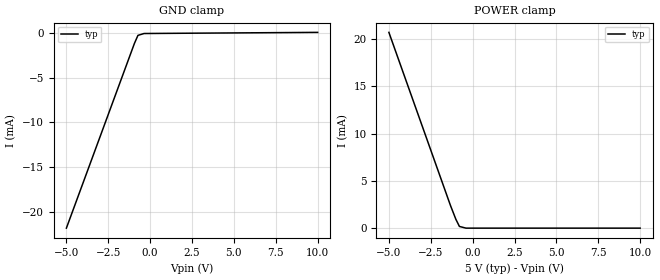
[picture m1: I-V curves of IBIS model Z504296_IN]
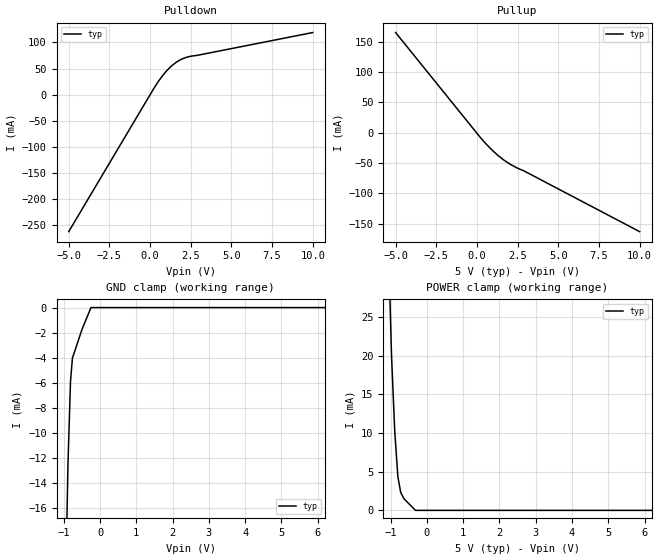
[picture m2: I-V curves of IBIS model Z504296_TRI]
| YOU ARE ONLY AUTHORIZED TO USE THIS SOFTWARE
| ACCORDING TO LICENSOR'S LICENSE RESTRICTIONS.
[IBIS Ver] 3.1
[File Name] mc54hct373aj.ibs
[File Rev] 2.0
[Source] Measured and created by ICX Technology
[Date] Friday 7/14/00 9:08:11 AM
[Copyright]
| (C) COPYRIGHT 1993-2000
| MENTOR GRAPHICS CORPORATION
| ICX STANDARD LIBRARY, ICX PROJECT MODELING,
| ICX CUSTOM MODELING, ICX VENDOR MODEL
| ALL RIGHTS RESERVED.
| THE FOLLOWING ARE TRADEMARKS OR SERVICE MARKS OF
| MENTOR GRAPHICS CORPORATION:ICX (R), ICX STANDARD
| LIBRARY(R), ICX PROJECT MODELING(R), ICX CUSTOM
| MODELING(R), qualityIBIS(TM), MODELVIEWER(TM),
| AND MODELEDITOR(TM)
| ALL COPIES OF SOFTWARE, INCLUDING BUT NOT LIMITED TO
| ANY MODIFICATIONS, ENHANCEMENTS OR DERIVATIVE WORKS,
| MUST CONTAIN ALL MENTOR GRAPHICS CORPORATION'S
| NOTICES AND LEGENDS, INCLUDING THOSE EMBEDDED IN
| SOFTWARE AND THOSE AFFIXED TO SOFTWARE MEDIUM
| AND CONTAINER, AS RECEIVED FROM MENTOR GRAPHICS
| CORPORATION.
|  ZAP Model Builder 2.7
[Component] MC54HCT373AJ
[Manufacturer] OnSemiconductor
[Package]
| variable   typ   min   max
R_pkg  .216ohms NA NA
L_pkg  5.76nH NA NA
C_pkg  2.193pF NA NA
[Pin] signal_name  model_name  R_pin  L_pin C_pin
1 _G Z504296_IN .232 9.76n 3.179p
2 Q0 Z504296_TRI .224 7.26n 2.686p
3 D0 Z504296_IN .216 5.26n 2.193p
4 D1 Z504296_IN .208 3.76n 1.7p
5 Q1 Z504296_TRI .2 2.76n 1.207p
6 Q2 Z504296_TRI .2 2.76n 1.207p
7 D2 Z504296_IN .208 3.76n 1.7p
8 D3 Z504296_IN .216 5.26n 2.193p
9 Q3 Z504296_TRI .224 7.26n 2.686p
10 GND GND .232 9.76n 3.179p
11 C Z504296_IN .232 9.76n 3.179p
12 Q4 Z504296_TRI .224 7.26n 2.686p
13 D4 Z504296_IN .216 5.26n 2.193p
14 D5 Z504296_IN .208 3.76n 1.7p
15 Q5 Z504296_TRI .2 2.76n 1.207p
16 Q6 Z504296_TRI .2 2.76n 1.207p
17 D6 Z504296_IN .208 3.76n 1.7p
18 D7 Z504296_IN .216 5.26n 2.193p
19 Q7 Z504296_TRI .224 7.26n 2.686p
20 VCC POWER .232 9.76n 3.179p
| Models and submodels in the file (2): Z504296_IN (Input), Z504296_TRI (3-state)
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| (C) COPYRIGHT 1993-2000
| MENTOR GRAPHICS CORPORATION
| ICX STANDARD LIBRARY, ICX PROJECT MODELING,
| ICX CUSTOM MODELING, ICX VENDOR MODEL
| ALL RIGHTS RESERVED.
| THE FOLLOWING ARE TRADEMARKS OR SERVICE MARKS OF
| MENTOR GRAPHICS CORPORATION:ICX (R), ICX STANDARD
| LIBRARY(R), ICX PROJECT MODELING(R), ICX CUSTOM
| MODELING(R), qualityIBIS(TM), MODELVIEWER(TM),
| AND MODELEDITOR(TM)
| ALL COPIES OF SOFTWARE, INCLUDING BUT NOT LIMITED TO
| ANY MODIFICATIONS, ENHANCEMENTS OR DERIVATIVE WORKS,
| MUST CONTAIN ALL MENTOR GRAPHICS CORPORATION'S
| NOTICES AND LEGENDS, INCLUDING THOSE EMBEDDED IN
| SOFTWARE AND THOSE AFFIXED TO SOFTWARE MEDIUM
| AND CONTAINER, AS RECEIVED FROM MENTOR GRAPHICS
| CORPORATION.
| Model Application Version 1.89 2/18/99.
[Model] Z504296_IN
Model_type Input
Vinl = 800.0mV
Vinh = 2.000V
C_comp 4.000pF NA NA
| variable typ   min   max
[Voltage Range] 5.000V NA NA
[GND Clamp Reference] 0.000V NA NA
[POWER Clamp Reference] 5.000V NA NA
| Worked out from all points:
|   GND clamp passes 1 mA (typ) near -0.90 V on its own axis
[GND Clamp]
-5V       -21.86mA   NA         NA
-937.5mV  -1.155mA   NA         NA
-727.4mV  -255.3uA   NA         NA
-363.7mV  -47.66uA   NA         NA
10V       80.1uA     NA         NA
[POWER Clamp]
-5V       20.72mA    NA         NA
-1.323V   2.396mA    NA         NA
-1.001V   935.2uA    NA         NA
-789mV    179.7uA    NA         NA
-394.5mV  0A         NA         NA
10V       0A         NA         NA
| (C) COPYRIGHT 1993-2000
| MENTOR GRAPHICS CORPORATION
| ICX STANDARD LIBRARY, ICX PROJECT MODELING,
| ICX CUSTOM MODELING, ICX VENDOR MODEL
| ALL RIGHTS RESERVED.
| THE FOLLOWING ARE TRADEMARKS OR SERVICE MARKS OF
| MENTOR GRAPHICS CORPORATION:ICX (R), ICX STANDARD
| LIBRARY(R), ICX PROJECT MODELING(R), ICX CUSTOM
| MODELING(R), qualityIBIS(TM), MODELVIEWER(TM),
| AND MODELEDITOR(TM)
| ALL COPIES OF SOFTWARE, INCLUDING BUT NOT LIMITED TO
| ANY MODIFICATIONS, ENHANCEMENTS OR DERIVATIVE WORKS,
| MUST CONTAIN ALL MENTOR GRAPHICS CORPORATION'S
| NOTICES AND LEGENDS, INCLUDING THOSE EMBEDDED IN
| SOFTWARE AND THOSE AFFIXED TO SOFTWARE MEDIUM
| AND CONTAINER, AS RECEIVED FROM MENTOR GRAPHICS
| CORPORATION.
| Model Application Version 1.89 2/18/99.
[Model] Z504296_TRI
Model_type 3-state
Vref=0.000V
Rref=500.0Mohms
Cref=50.00pF
Vmeas=1.300V
C_comp 8.000pF NA NA
| variable typ   min   max
[Voltage Range] 5.000V NA NA
[POWER Clamp Reference] 5.000V NA NA
[Pullup Reference] 5.000V NA NA
[Pulldown Reference] 0.000V NA NA
[GND Clamp Reference] 0.000V NA NA
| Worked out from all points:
|   slope of the pulldown table from 0 to 0.75 V, typ, clamps not added: 21 ohm
|   slope of the pullup table from 0 to 0.75 V, typ, clamps not added: 33 ohm
|   GND clamp passes 1 mA (typ) near -0.39 V on its own axis
[GND Clamp]
-5V       -629mA     NA         NA
-884.2mV  -12.43mA   NA         NA
-814.6mV  -5.873mA   NA         NA
-761.3mV  -4.024mA   NA         NA
-500mV    -1.757mA   NA         NA
-250mV    0A         NA         NA
10V       0A         NA         NA
[Pulldown]
-5V       -261.8mA   NA         NA
234.5mV   12.27mA    NA         NA
786.3mV   37.17mA    NA         NA
1.284V    54.22mA    NA         NA
1.831V    66.37mA    NA         NA
2.441V    73.26mA    NA         NA
10V       119mA      NA         NA
[Pullup]
-5V       164.9mA    NA         NA
215mV     -8.129mA   NA         NA
508mV     -17.07mA   NA         NA
933mV     -28.71mA   NA         NA
1.26V     -36.8mA    NA         NA
1.67V     -45.43mA   NA         NA
2.08V     -52.62mA   NA         NA
2.493V    -58.4mA    NA         NA
2.71V     -60.99mA   NA         NA
2.871V    -62.69mA   NA         NA
10V       -163mA     NA         NA
[POWER Clamp]
-5V       698mA      NA         NA
-977mV    20.18mA    NA         NA
-888mV    10.26mA    NA         NA
-801mV    4.361mA    NA         NA
-723mV    2.308mA    NA         NA
-630mV    1.484mA    NA         NA
-315mV    0A         NA         NA
10V       0A         NA         NA
[Ramp]
| variable typ min max
dV/dt_r 2.844/583.1p NA NA
dV/dt_f 2.844/718.5p NA NA
R_load = 500.0Ohms
